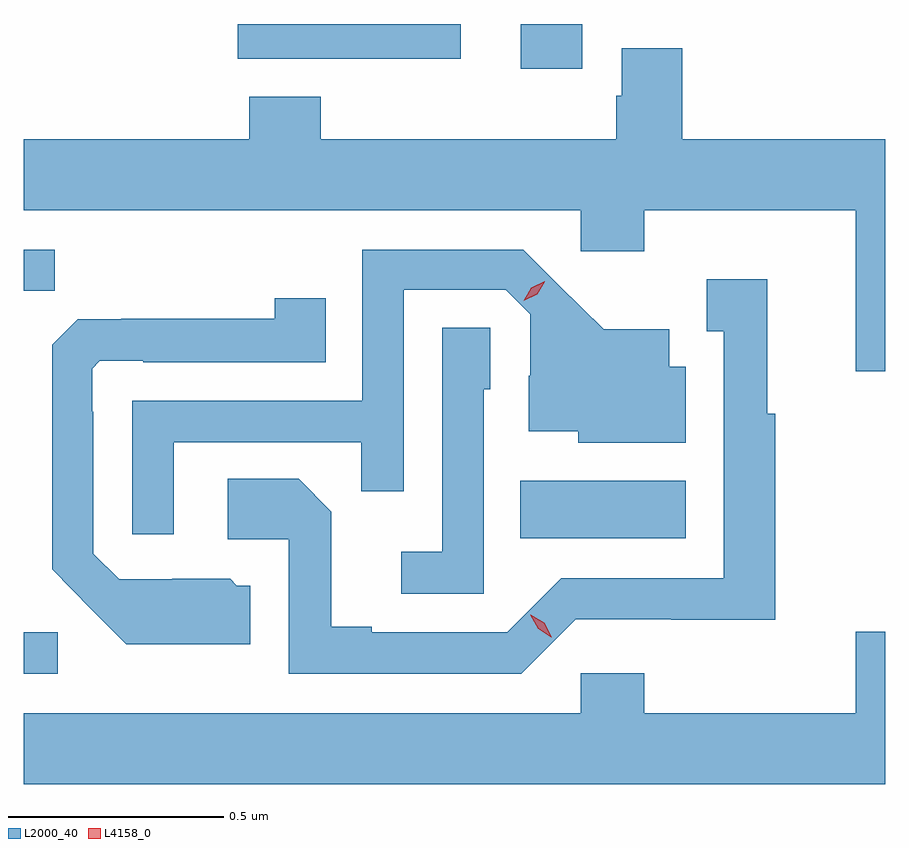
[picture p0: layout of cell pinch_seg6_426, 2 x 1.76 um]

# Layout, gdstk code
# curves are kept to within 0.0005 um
import gdstk
lib = gdstk.Library(unit=1e-6, precision=1e-09)
def R(c, l, rs):  # rectangles x0, y0, x1, y1
    for r in rs: c.add(gdstk.rectangle(r[:2], r[2:], *l))
def P(c, l, *ps):  # polygons
    for p in ps: c.add(gdstk.Polygon(p, *l))
L2000_40 = (2000, 40)
L4158_0 = (4158, 0)

pinch_seg6_426 = lib.new_cell('pinch_seg6_426')
R(pinch_seg6_426, L2000_40, [(654.585,918.288,654.664,918.384), (655.738,918.602,656.122,918.736), (654.585,919.177,654.657,919.272), (655.739,919.692,655.882,919.796), (655.082,919.715,655.6,919.796)])
P(pinch_seg6_426, L2000_40, [(656.585,919.528),(656.114,919.528),(656.114,919.74),(655.973,919.74),(655.973,919.629),(655.961,919.629),(655.961,919.528),(655.274,919.528),(655.274,919.627),(655.109,919.627),(655.109,919.528),(654.585,919.528),(654.585,919.364),(655.878,919.364),(655.878,919.269),(656.025,919.269),(656.025,919.364),(656.516,919.364),(656.516,918.99),(656.585,918.99)],
  [(654.933,918.825),(655.369,918.825),(655.369,918.712),(655.467,918.712),(655.467,919.179),(655.704,919.179),(655.761,919.122),(655.761,918.98),(655.757,918.98),(655.757,918.851),(655.872,918.851),(655.872,918.824),(656.122,918.824),(656.122,919),(656.083,919),(656.083,919.087),(655.931,919.087),(655.744,919.272),(655.371,919.272),(655.371,918.921),(654.837,918.921),(654.837,918.612),(654.933,918.612)],
  [(655.866,918.414),(656.088,918.414),(656.088,918.413),(656.329,918.413),(656.329,918.891),(656.311,918.891),(656.311,919.204),(656.171,919.204),(656.171,919.083),(656.21,919.083),(656.21,918.51),(655.833,918.51),(655.707,918.384),(655.393,918.384),(655.393,918.397),(655.299,918.397),(655.299,918.664),(655.223,918.74),(655.059,918.74),(655.059,918.6),(655.2,918.6),(655.2,918.288),(655.74,918.288)],
  [(655.111,918.492),(655.08,918.492),(655.064,918.508),(654.93,918.508),(654.93,918.507),(654.807,918.507),(654.747,918.567),(654.747,918.896),(654.744,918.896),(654.744,918.996),(654.762,919.014),(654.862,919.014),(654.862,919.011),(655.286,919.011),(655.286,919.159),(655.168,919.159),(655.168,919.112),(654.811,919.112),(654.811,919.111),(654.71,919.111),(654.651,919.052),(654.651,918.53),(654.823,918.356),(655.111,918.356)],
  [(655.653,918.948),(655.668,918.948),(655.668,919.091),(655.557,919.091),(655.557,918.571),(655.461,918.571),(655.461,918.474),(655.653,918.474)],
  [(656.585,918.385),(656.516,918.385),(656.516,918.196),(656.025,918.196),(656.025,918.289),(655.878,918.289),(655.878,918.196),(654.585,918.196),(654.585,918.032),(656.585,918.032)])
P(pinch_seg6_426, L4158_0, [(655.81,918.373),(655.779,918.392),(655.761,918.425),(655.761,918.425),(655.762,918.425),(655.793,918.406),(655.811,918.373),(655.811,918.373)],
  [(655.746,919.154),(655.746,919.154),(655.763,919.184),(655.794,919.199),(655.794,919.199),(655.794,919.198),(655.777,919.169),(655.746,919.154)])

lib.write_gds('pinch_seg6_426.gds')
